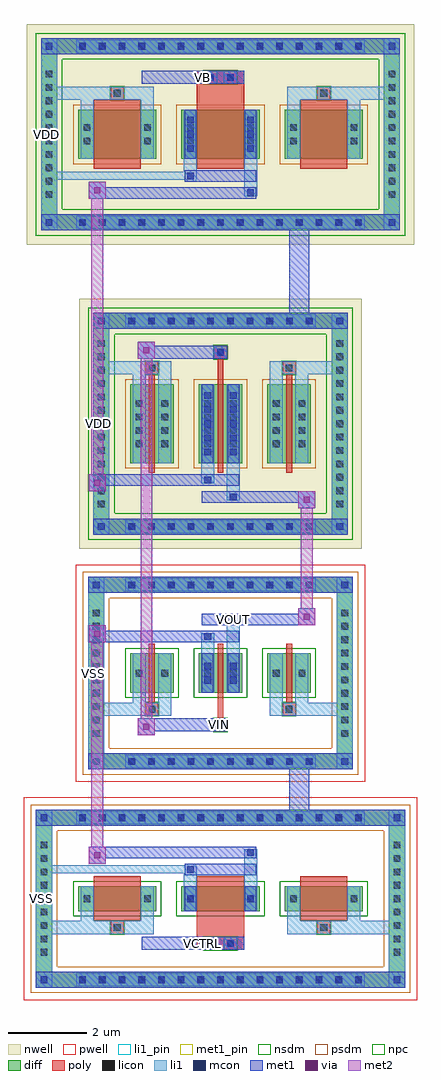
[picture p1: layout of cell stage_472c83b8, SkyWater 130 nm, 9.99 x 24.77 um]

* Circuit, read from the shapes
.subckt stage_472c83b8 VB VCTRL VDD VIN VOUT VSS
XM1 VSS VSS VSS VSUBS sky130_fd_pr__nfet_01v8 w=0.63 l=1.2 m=2
XM2 VSS VSS VSS VSUBS sky130_fd_pr__nfet_01v8 w=1 l=0.15 m=2
XM3 n1 VCTRL VSS VSUBS sky130_fd_pr__nfet_01v8 w=0.63 l=1.2
XM4 VOUT VIN n1 VSUBS sky130_fd_pr__nfet_01v8 w=1 l=0.15
XM5 VDD VDD VDD n2 sky130_fd_pr__pfet_01v8 w=1.25 l=1.2 m=2
XM6 VDD VDD VDD n3 sky130_fd_pr__pfet_01v8 w=2 l=0.15 m=2
XM7 n4 VB VDD n2 sky130_fd_pr__pfet_01v8 w=1.25 l=1.2
XM8 VOUT VIN n4 n3 sky130_fd_pr__pfet_01v8 w=2 l=0.15
.ends

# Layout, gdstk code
import gdstk
lib = gdstk.Library(unit=1e-6, precision=5e-09)
def R(c, l, rs):  # rectangles x0, y0, x1, y1
    for r in rs: c.add(gdstk.rectangle(r[:2], r[2:], *l))
def A(c, l, x, y, w, h, nx, ny, dx, dy):  # array of equal rectangles
    R(c, l, [(x+i*dx, y+j*dy, x+i*dx+w, y+j*dy+h) for i in range(nx) for j in range(ny)])
def P(c, l, *ps):  # polygons
    for p in ps: c.add(gdstk.Polygon(p, *l))
nwell = (64, 20)
pwell = (64, 44)
diff = (65, 20)
poly = (66, 20)
licon = (66, 44)
li1_pin = (67, 16)
li1 = (67, 20)
mcon = (67, 44)
met1_pin = (68, 16)
met1 = (68, 20)
via = (68, 44)
met2 = (69, 20)
nsdm = (93, 44)
psdm = (94, 20)
npc = (95, 20)

stage_472c83b8 = lib.new_cell('stage_472c83b8')
R(stage_472c83b8, nwell, [(-3.59,8.88,3.59,15.23), (-3.41,9.06,3.41,15.05), (-4.915,16.6,4.915,22.2), (-4.735,16.78,4.735,22.02)])
R(stage_472c83b8, pwell, [(-4.995,-2.57,4.995,2.57), (-3.67,2.97,3.67,8.48)])
A(stage_472c83b8, diff, -3.705, -2.26, 0.41, 0.41, 15, 2, 0.5, 4.11)
A(stage_472c83b8, diff, -4.685, -1.565, 0.41, 0.41, 1, 9, 0, 0.34)
A(stage_472c83b8, diff, 4.275, -1.565, 0.41, 0.41, 1, 9, 0, 0.34)
A(stage_472c83b8, diff, -3.61, -0.315, 1.98, 0.63, 3, 1, 2.62, 0)
A(stage_472c83b8, diff, -2.455, 3.28, 0.41, 0.41, 10, 2, 0.5, 4.48)
A(stage_472c83b8, diff, -3.36, 3.99, 0.41, 0.41, 1, 10, 0, 0.34)
A(stage_472c83b8, diff, 2.95, 3.99, 0.41, 0.41, 1, 10, 0, 0.34)
A(stage_472c83b8, diff, -2.29, 5.225, 1.1, 1, 3, 1, 1.74, 0)
A(stage_472c83b8, diff, -2.455, 9.24, 0.41, 0.41, 10, 2, 0.5, 5.22)
A(stage_472c83b8, diff, -3.23, 9.81, 0.41, 0.41, 1, 13, 0, 0.34)
A(stage_472c83b8, diff, 2.82, 9.81, 0.41, 0.41, 1, 13, 0, 0.34)
A(stage_472c83b8, diff, -2.29, 11.055, 1.1, 2, 3, 1, 1.74, 0)
A(stage_472c83b8, diff, -3.705, 16.96, 0.41, 0.41, 15, 2, 0.5, 4.47)
A(stage_472c83b8, diff, -4.555, 17.665, 0.41, 0.41, 1, 10, 0, 0.34)
A(stage_472c83b8, diff, 4.145, 17.665, 0.41, 0.41, 1, 10, 0, 0.34)
A(stage_472c83b8, diff, -3.61, 18.775, 1.98, 1.25, 3, 1, 2.62, 0)
R(stage_472c83b8, diff, [(-3.705,-2.26,3.705,-1.85), (-4.685,-1.565,-4.275,1.565), (4.275,-1.565,4.685,1.565), (-3.705,1.85,3.705,2.26), (-2.455,3.28,2.455,3.69), (-3.36,3.99,-2.95,7.46), (2.95,3.99,3.36,7.46), (-2.455,7.76,2.455,8.17), (-2.455,9.24,2.455,9.65), (-3.23,9.81,-2.82,14.3), (2.82,9.81,3.23,14.3), (-2.455,14.46,2.455,14.87), (-3.705,16.96,3.705,17.37), (-4.555,17.665,-4.145,21.135), (4.145,17.665,4.555,21.135), (-3.705,21.43,3.705,21.84)])
P(stage_472c83b8, diff, [(4.685,2.26),(-4.685,2.26),(-4.685,-1.85),(-4.275,-1.85),(-4.275,1.85),(4.275,1.85),(4.275,-1.85),(-4.275,-1.85),(-4.685,-1.85),(-4.685,-2.26),(4.685,-2.26)],
  [(4.555,16.96),(-4.555,16.96),(-4.555,21.43),(-4.145,21.43),(-4.145,17.37),(4.145,17.37),(4.145,21.43),(-4.145,21.43),(-4.555,21.43),(-4.555,21.84),(4.555,21.84)],
  [(3.23,9.24),(-3.23,9.24),(-3.23,14.46),(-2.82,14.46),(-2.82,9.65),(2.82,9.65),(2.82,14.46),(-2.82,14.46),(-3.23,14.46),(-3.23,14.87),(3.23,14.87)],
  [(3.36,8.17),(-3.36,8.17),(-3.36,3.69),(-2.95,3.69),(-2.95,7.76),(2.95,7.76),(2.95,3.69),(-2.95,3.69),(-3.36,3.69),(-3.36,3.28),(3.36,3.28)])
A(stage_472c83b8, poly, -3.22, -0.565, 1.2, 1.13, 3, 1, 2.62, 0)
A(stage_472c83b8, poly, -1.815, 4.975, 0.15, 1.5, 3, 1, 1.74, 0)
A(stage_472c83b8, poly, -1.815, 10.805, 0.15, 2.5, 3, 1, 1.74, 0)
A(stage_472c83b8, poly, -3.22, 18.525, 1.2, 1.75, 3, 1, 2.62, 0)
R(stage_472c83b8, poly, [(-0.6,-1.3,0.6,-0.97), (-0.415,-1.3,-0.085,-0.97), (0.085,-1.3,0.415,-0.97), (-0.6,-0.97,0.6,-0.565), (-2.785,-0.895,-2.455,-0.565), (-2.785,-0.895,-2.455,-0.565), (2.455,-0.895,2.785,-0.565), (2.455,-0.895,2.785,-0.565), (-0.165,4.245,0.165,4.575), (-0.165,4.245,0.165,4.575), (-0.075,4.575,0.075,4.975), (-1.905,4.645,-1.575,4.975), (-1.905,4.645,-1.575,4.975), (1.575,4.645,1.905,4.975), (1.575,4.645,1.905,4.975), (-1.905,13.305,-1.575,13.635), (-1.905,13.305,-1.575,13.635), (-0.075,13.305,0.075,13.705), (1.575,13.305,1.905,13.635), (1.575,13.305,1.905,13.635), (-0.165,13.705,0.165,14.035), (-0.165,13.705,0.165,14.035), (-2.785,20.275,-2.455,20.605), (-2.785,20.275,-2.455,20.605), (-0.6,20.275,0.6,20.68), (2.455,20.275,2.785,20.605), (2.455,20.275,2.785,20.605), (-0.6,20.68,0.6,21.01), (-0.415,20.68,-0.085,21.01), (0.085,20.68,0.415,21.01)])
A(stage_472c83b8, licon, -3.585, -2.14, 0.17, 0.17, 15, 2, 0.5, 4.11)
A(stage_472c83b8, licon, -4.565, -1.445, 0.17, 0.17, 1, 9, 0, 0.34)
A(stage_472c83b8, licon, 4.395, -1.445, 0.17, 0.17, 1, 9, 0, 0.34)
A(stage_472c83b8, licon, -2.335, 3.4, 0.17, 0.17, 10, 2, 0.5, 4.48)
A(stage_472c83b8, licon, -3.24, 4.11, 0.17, 0.17, 1, 10, 0, 0.34)
A(stage_472c83b8, licon, 3.07, 4.11, 0.17, 0.17, 1, 10, 0, 0.34)
A(stage_472c83b8, licon, -2.335, 9.36, 0.17, 0.17, 10, 2, 0.5, 5.22)
A(stage_472c83b8, licon, -3.11, 9.93, 0.17, 0.17, 1, 13, 0, 0.34)
A(stage_472c83b8, licon, 2.94, 9.93, 0.17, 0.17, 1, 13, 0, 0.34)
A(stage_472c83b8, licon, -2.15, 11.46, 0.17, 0.17, 1, 4, 0, 0.34)
A(stage_472c83b8, licon, -1.5, 11.46, 0.17, 0.17, 1, 4, 0, 0.34)
A(stage_472c83b8, licon, -0.41, 11.46, 0.17, 0.17, 1, 4, 0, 0.34)
A(stage_472c83b8, licon, 0.24, 11.46, 0.17, 0.17, 1, 4, 0, 0.34)
A(stage_472c83b8, licon, 1.33, 11.46, 0.17, 0.17, 1, 4, 0, 0.34)
A(stage_472c83b8, licon, 1.98, 11.46, 0.17, 0.17, 1, 4, 0, 0.34)
A(stage_472c83b8, licon, -3.585, 17.08, 0.17, 0.17, 15, 2, 0.5, 4.47)
A(stage_472c83b8, licon, -4.435, 17.785, 0.17, 0.17, 1, 10, 0, 0.34)
A(stage_472c83b8, licon, 4.265, 17.785, 0.17, 0.17, 1, 10, 0, 0.34)
R(stage_472c83b8, licon, [(-0.335,-1.22,-0.165,-1.05), (0.165,-1.22,0.335,-1.05), (-2.705,-0.815,-2.535,-0.645), (2.535,-0.815,2.705,-0.645), (-3.47,-0.085,-3.3,0.085), (-1.94,-0.085,-1.77,0.085), (-0.85,-0.085,-0.68,0.085), (0.68,-0.085,0.85,0.085), (1.77,-0.085,1.94,0.085), (3.3,-0.085,3.47,0.085), (-0.085,4.325,0.085,4.495), (-1.825,4.725,-1.655,4.895), (1.655,4.725,1.825,4.895), (-2.15,5.64,-1.98,5.81), (-1.5,5.64,-1.33,5.81), (-0.41,5.64,-0.24,5.81), (0.24,5.64,0.41,5.81), (1.33,5.64,1.5,5.81), (1.98,5.64,2.15,5.81), (-1.825,13.385,-1.655,13.555), (1.655,13.385,1.825,13.555), (-0.085,13.785,0.085,13.955), (-3.47,19.145,-3.3,19.315), (-1.94,19.145,-1.77,19.315), (-0.85,19.145,-0.68,19.315), (0.68,19.145,0.85,19.315), (1.77,19.145,1.94,19.315), (3.3,19.145,3.47,19.315), (-3.47,19.485,-3.3,19.655), (-1.94,19.485,-1.77,19.655), (-0.85,19.485,-0.68,19.655), (0.68,19.485,0.85,19.655), (1.77,19.485,1.94,19.655), (3.3,19.485,3.47,19.655), (-2.705,20.355,-2.535,20.525), (2.535,20.355,2.705,20.525), (-0.335,20.76,-0.165,20.93), (0.165,20.76,0.335,20.93)])
R(stage_472c83b8, li1_pin, [(-4.685,-0.135,-4.415,0.135), (-3.36,5.59,-3.09,5.86), (-3.23,11.92,-2.96,12.19), (-4.555,19.265,-4.285,19.535)])
A(stage_472c83b8, li1, -3.665, -2.22, 0.33, 0.33, 15, 2, 0.5, 4.11)
A(stage_472c83b8, li1, -4.645, -1.525, 0.33, 0.33, 1, 9, 0, 0.34)
A(stage_472c83b8, li1, 4.315, -1.525, 0.33, 0.33, 1, 9, 0, 0.34)
A(stage_472c83b8, li1, -2.415, 3.32, 0.33, 0.33, 10, 2, 0.5, 4.48)
A(stage_472c83b8, li1, -3.32, 4.03, 0.33, 0.33, 1, 10, 0, 0.34)
A(stage_472c83b8, li1, 2.99, 4.03, 0.33, 0.33, 1, 10, 0, 0.34)
A(stage_472c83b8, li1, -2.415, 9.28, 0.33, 0.33, 10, 2, 0.5, 5.22)
A(stage_472c83b8, li1, -3.19, 9.85, 0.33, 0.33, 1, 13, 0, 0.34)
A(stage_472c83b8, li1, 2.86, 9.85, 0.33, 0.33, 1, 13, 0, 0.34)
A(stage_472c83b8, li1, -0.41, 11.25, 0.17, 0.17, 1, 5, 0, 0.36)
A(stage_472c83b8, li1, 0.24, 11.25, 0.17, 0.17, 1, 5, 0, 0.36)
A(stage_472c83b8, li1, -2.23, 11.38, 0.33, 0.33, 1, 4, 0, 0.34)
A(stage_472c83b8, li1, -1.58, 11.38, 0.33, 0.33, 1, 4, 0, 0.34)
A(stage_472c83b8, li1, -0.49, 11.38, 0.33, 0.33, 1, 4, 0, 0.34)
A(stage_472c83b8, li1, 0.16, 11.38, 0.33, 0.33, 1, 4, 0, 0.34)
A(stage_472c83b8, li1, 1.25, 11.38, 0.33, 0.33, 1, 4, 0, 0.34)
A(stage_472c83b8, li1, 1.9, 11.38, 0.33, 0.33, 1, 4, 0, 0.34)
A(stage_472c83b8, li1, -3.665, 17, 0.33, 0.33, 15, 2, 0.5, 4.47)
A(stage_472c83b8, li1, -4.515, 17.705, 0.33, 0.33, 1, 10, 0, 0.34)
A(stage_472c83b8, li1, 4.185, 17.705, 0.33, 0.33, 1, 10, 0, 0.34)
A(stage_472c83b8, li1, -0.85, 18.955, 0.17, 0.17, 1, 3, 0, 0.36)
A(stage_472c83b8, li1, 0.68, 18.955, 0.17, 0.17, 1, 3, 0, 0.36)
R(stage_472c83b8, li1, [(-4.685,-2.26,-4.275,-1.85), (4.275,-2.26,4.685,-1.85), (-3.665,-2.22,3.665,-1.89), (-4.565,-2.14,-4.395,-1.97), (-4.565,-2.14,-4.395,-1.97), (4.395,-2.14,4.565,-1.97), (4.395,-2.14,4.565,-1.97), (-4.685,-1.85,-4.275,1.85), (4.275,-1.85,4.685,1.85), (-0.415,-1.3,-0.085,-0.97), (0.085,-1.3,0.415,-0.97), (-4.685,-0.895,-2.785,-0.565), (-3.55,-0.895,-2.785,-0.565), (-3.55,-0.895,-3.22,-0.315), (-2.785,-0.895,-2.455,-0.565), (-2.455,-0.895,-1.69,-0.565), (-2.02,-0.895,-1.69,-0.315), (1.69,-0.895,2.455,-0.565), (1.69,-0.895,2.02,-0.315), (2.455,-0.895,2.785,-0.565), (2.455,-0.895,4.685,-0.565), (2.785,-0.895,3.55,-0.565), (3.22,-0.895,3.55,-0.315), (-3.55,-0.315,-3.22,0.315), (-2.02,-0.315,-1.69,0.315), (-0.93,-0.315,-0.6,0.315), (0.6,-0.315,0.93,0.315), (1.69,-0.315,2.02,0.315), (3.22,-0.315,3.55,0.315), (-3.55,-0.165,-3.22,0.165), (-2.02,-0.165,-1.69,0.165), (-0.93,-0.165,-0.6,0.165), (0.6,-0.165,0.93,0.165), (1.69,-0.165,2.02,0.165), (3.22,-0.165,3.55,0.165), (-0.85,-0.085,-0.68,0.085), (-0.85,-0.085,-0.68,0.085), (0.68,-0.085,0.85,0.085), (0.68,-0.085,0.85,0.085), (-0.93,0.315,-0.6,0.83), (0.6,0.315,0.93,1.26), (-0.91,0.6,-0.62,0.89), (-4.685,0.645,-0.91,0.845), (-0.85,0.66,-0.68,0.83), (-0.85,0.66,-0.68,0.83), (0.68,1.09,0.85,1.26), (-4.685,1.85,-4.275,2.26), (4.275,1.85,4.685,2.26), (-3.665,1.89,3.665,2.22), (-4.565,1.97,-4.395,2.14), (-4.565,1.97,-4.395,2.14), (4.395,1.97,4.565,2.14), (4.395,1.97,4.565,2.14), (-3.36,3.28,-2.95,3.69), (2.95,3.28,3.36,3.69), (-2.415,3.32,2.415,3.65), (-3.24,3.4,-3.07,3.57), (-3.24,3.4,-3.07,3.57), (3.07,3.4,3.24,3.57), (3.07,3.4,3.24,3.57), (-3.36,3.69,-2.95,7.76), (2.95,3.69,3.36,7.76), (-0.165,4.245,0.165,4.575), (-3.36,4.645,-1.905,4.975), (-2.23,4.645,-1.9,5.225), (-2.23,4.645,-1.905,4.975), (-1.905,4.645,-1.575,4.975), (-1.58,4.645,-1.25,5.225), (-1.575,4.645,-1.25,4.975), (1.25,4.645,1.58,5.225), (1.25,4.645,1.575,4.975), (1.575,4.645,1.905,4.975), (1.575,4.645,3.36,4.975), (1.9,4.645,2.23,5.225), (1.905,4.645,2.23,4.975), (-2.23,5.225,-1.9,6.225), (-1.58,5.225,-1.25,6.225), (-0.49,5.225,-0.16,6.225), (0.16,5.225,0.49,6.225), (1.25,5.225,1.58,6.225), (1.9,5.225,2.23,6.225), (-0.41,5.46,-0.24,5.63), (-0.41,5.46,-0.24,5.99), (0.24,5.46,0.41,5.63), (0.24,5.46,0.41,5.99), (-2.23,5.56,-1.9,5.89), (-1.58,5.56,-1.25,5.89), (-0.49,5.56,-0.16,5.89), (0.16,5.56,0.49,5.89), (1.25,5.56,1.58,5.89), (1.9,5.56,2.23,5.89), (-0.41,5.82,-0.24,5.99), (0.24,5.82,0.41,5.99), (-0.49,6.225,-0.16,6.74), (0.16,6.225,0.49,7.17), (-0.41,6.57,-0.24,6.74), (0.24,7,0.41,7.17), (-3.36,7.76,-2.95,8.17), (2.95,7.76,3.36,8.17), (-2.415,7.8,2.415,8.13), (-3.24,7.88,-3.07,8.05), (-3.24,7.88,-3.07,8.05), (3.07,7.88,3.24,8.05), (3.07,7.88,3.24,8.05), (-3.23,9.24,-2.82,9.65), (2.82,9.24,3.23,9.65), (-2.415,9.28,2.415,9.61), (-3.11,9.36,-2.94,9.53), (-3.11,9.36,-2.94,9.53), (2.94,9.36,3.11,9.53), (2.94,9.36,3.11,9.53), (-3.23,9.65,-2.82,14.46), (2.82,9.65,3.23,14.46), (0.16,10.11,0.49,11.055), (0.24,10.11,0.41,10.28), (-0.49,10.54,-0.16,11.055), (-0.41,10.54,-0.24,10.71), (-2.23,11.055,-1.9,13.055), (-1.58,11.055,-1.25,13.055), (-0.49,11.055,-0.16,13.055), (0.16,11.055,0.49,13.055), (1.25,11.055,1.58,13.055), (1.9,11.055,2.23,13.055), (-0.41,11.25,-0.24,12.86), (0.24,11.25,0.41,12.86), (-2.23,13.055,-1.9,13.635), (-1.58,13.055,-1.25,13.635), (1.25,13.055,1.58,13.635), (1.9,13.055,2.23,13.635), (-3.23,13.305,-1.905,13.635), (-2.23,13.305,-1.905,13.635), (-1.905,13.305,-1.575,13.635), (-1.575,13.305,-1.25,13.635), (1.25,13.305,1.575,13.635), (1.575,13.305,1.905,13.635), (1.575,13.305,3.23,13.635), (1.905,13.305,2.23,13.635), (-0.165,13.705,0.165,14.035), (-3.23,14.46,-2.82,14.87), (2.82,14.46,3.23,14.87), (-2.415,14.5,2.415,14.83), (-3.11,14.58,-2.94,14.75), (-3.11,14.58,-2.94,14.75), (2.94,14.58,3.11,14.75), (2.94,14.58,3.11,14.75), (-4.555,16.96,-4.145,17.37), (4.145,16.96,4.555,17.37), (-3.665,17,3.665,17.33), (-4.435,17.08,-4.265,17.25), (-4.435,17.08,-4.265,17.25), (4.265,17.08,4.435,17.25), (4.265,17.08,4.435,17.25), (-4.555,17.37,-4.145,21.43), (4.145,17.37,4.555,21.43), (0.6,17.83,0.93,18.775), (0.68,17.83,0.85,18), (-0.91,18.2,-0.62,18.49), (-4.555,18.245,-0.91,18.445), (-0.93,18.26,-0.6,18.775), (-0.85,18.26,-0.68,18.43), (-0.85,18.26,-0.68,18.43), (-3.55,18.775,-3.22,20.025), (-2.02,18.775,-1.69,20.025), (-0.93,18.775,-0.6,20.025), (0.6,18.775,0.93,20.025), (1.69,18.775,2.02,20.025), (3.22,18.775,3.55,20.025), (-0.85,18.955,-0.68,19.845), (0.68,18.955,0.85,19.845), (-3.55,19.065,-3.22,19.395), (-2.02,19.065,-1.69,19.395), (-0.93,19.065,-0.6,19.395), (0.6,19.065,0.93,19.395), (1.69,19.065,2.02,19.395), (3.22,19.065,3.55,19.395), (-3.55,19.405,-3.22,19.735), (-2.02,19.405,-1.69,19.735), (-0.93,19.405,-0.6,19.735), (0.6,19.405,0.93,19.735), (1.69,19.405,2.02,19.735), (3.22,19.405,3.55,19.735), (-3.55,20.025,-3.22,20.605), (-2.02,20.025,-1.69,20.605), (1.69,20.025,2.02,20.605), (3.22,20.025,3.55,20.605), (-4.555,20.275,-2.785,20.605), (-3.55,20.275,-2.785,20.605), (-2.785,20.275,-2.455,20.605), (-2.455,20.275,-1.69,20.605), (1.69,20.275,2.455,20.605), (2.455,20.275,2.785,20.605), (2.455,20.275,4.555,20.605), (2.785,20.275,3.55,20.605), (-0.415,20.68,-0.085,21.01), (0.085,20.68,0.415,21.01), (-4.555,21.43,-4.145,21.84), (4.145,21.43,4.555,21.84), (-3.665,21.47,3.665,21.8), (-4.435,21.55,-4.265,21.72), (-4.435,21.55,-4.265,21.72), (4.265,21.55,4.435,21.72), (4.265,21.55,4.435,21.72)])
A(stage_472c83b8, mcon, -3.585, -2.14, 0.17, 0.17, 15, 2, 0.5, 4.11)
A(stage_472c83b8, mcon, -2.335, 3.4, 0.17, 0.17, 10, 2, 0.5, 4.48)
A(stage_472c83b8, mcon, -2.335, 9.36, 0.17, 0.17, 10, 2, 0.5, 5.22)
A(stage_472c83b8, mcon, -0.41, 11.25, 0.17, 0.17, 1, 5, 0, 0.36)
A(stage_472c83b8, mcon, 0.24, 11.25, 0.17, 0.17, 1, 5, 0, 0.36)
A(stage_472c83b8, mcon, -3.585, 17.08, 0.17, 0.17, 15, 2, 0.5, 4.47)
A(stage_472c83b8, mcon, -0.85, 18.955, 0.17, 0.17, 1, 3, 0, 0.36)
A(stage_472c83b8, mcon, 0.68, 18.955, 0.17, 0.17, 1, 3, 0, 0.36)
R(stage_472c83b8, mcon, [(-4.565,-2.14,-4.395,-1.97), (4.395,-2.14,4.565,-1.97), (-0.335,-1.22,-0.165,-1.05), (0.165,-1.22,0.335,-1.05), (-0.85,-0.085,-0.68,0.085), (0.68,-0.085,0.85,0.085), (-0.85,0.66,-0.68,0.83), (-0.85,0.66,-0.68,0.83), (0.68,1.09,0.85,1.26), (-4.565,1.97,-4.395,2.14), (4.395,1.97,4.565,2.14), (-3.24,3.4,-3.07,3.57), (3.07,3.4,3.24,3.57), (-0.085,4.325,0.085,4.495), (-0.41,5.46,-0.24,5.63), (0.24,5.46,0.41,5.63), (-0.41,5.82,-0.24,5.99), (0.24,5.82,0.41,5.99), (-0.41,6.57,-0.24,6.74), (0.24,7,0.41,7.17), (-3.24,7.88,-3.07,8.05), (3.07,7.88,3.24,8.05), (-3.11,9.36,-2.94,9.53), (2.94,9.36,3.11,9.53), (0.24,10.11,0.41,10.28), (-0.41,10.54,-0.24,10.71), (-0.085,13.785,0.085,13.955), (-3.11,14.58,-2.94,14.75), (2.94,14.58,3.11,14.75), (-4.435,17.08,-4.265,17.25), (4.265,17.08,4.435,17.25), (0.68,17.83,0.85,18), (-0.85,18.26,-0.68,18.43), (-0.85,18.26,-0.68,18.43), (-0.335,20.76,-0.165,20.93), (0.165,20.76,0.335,20.93), (-4.435,21.55,-4.265,21.72), (4.265,21.55,4.435,21.72)])
R(stage_472c83b8, met1_pin, [(-0.6,-1.27,-0.33,-1), (-0.165,4.275,0.105,4.545), (0.2,6.95,0.47,7.22), (-0.6,20.71,-0.33,20.98)])
A(stage_472c83b8, met1, -3.645, -2.2, 0.29, 0.29, 15, 2, 0.5, 4.11)
A(stage_472c83b8, met1, -2.395, 3.34, 0.29, 0.29, 10, 2, 0.5, 4.48)
A(stage_472c83b8, met1, -2.395, 9.3, 0.29, 0.29, 10, 2, 0.5, 5.22)
A(stage_472c83b8, met1, -0.47, 11.19, 0.29, 0.29, 1, 5, 0, 0.36)
A(stage_472c83b8, met1, 0.18, 11.19, 0.29, 0.29, 1, 5, 0, 0.36)
A(stage_472c83b8, met1, -3.645, 17.02, 0.29, 0.29, 15, 2, 0.5, 4.47)
A(stage_472c83b8, met1, -0.91, 18.895, 0.29, 0.29, 1, 3, 0, 0.36)
A(stage_472c83b8, met1, 0.62, 18.895, 0.29, 0.29, 1, 3, 0, 0.36)
R(stage_472c83b8, met1, [(-4.685,-2.26,-4.275,-1.85), (-4.685,-2.26,-4.275,-1.85), (-4.275,-2.26,4.275,-1.85), (4.275,-2.26,4.685,-1.85), (4.275,-2.26,4.685,-1.85), (-4.625,-2.2,-4.335,-1.91), (4.335,-2.2,4.625,-1.91), (-2,-1.3,-0.6,-0.97), (-0.6,-1.3,0.6,-0.97), (-0.395,-1.28,-0.105,-0.99), (0.105,-1.28,0.395,-0.99), (-0.91,-0.315,-0.62,0.315), (0.62,-0.315,0.91,0.315), (-0.91,-0.145,-0.62,0.145), (0.62,-0.145,0.91,0.145), (-0.91,0.6,-0.62,0.89), (-0.91,0.6,-0.62,0.89), (-0.91,0.6,0.91,0.89), (-3.34,0.89,-2.91,1.32), (-3.34,1.03,-0.91,1.32), (-0.91,1.03,0.91,1.32), (0.62,1.03,0.91,1.32), (-4.685,1.85,-4.275,2.26), (-4.685,1.85,-4.275,2.26), (-4.275,1.85,4.275,2.26), (4.275,1.85,4.685,2.26), (4.275,1.85,4.685,2.26), (1.75,1.9,2.25,3.64), (-4.625,1.91,-4.335,2.2), (4.335,1.91,4.625,2.2), (-3.36,3.28,-2.95,3.69), (-3.36,3.28,-2.95,3.69), (-2.95,3.28,2.95,3.69), (2.95,3.28,3.36,3.69), (2.95,3.28,3.36,3.69), (-3.3,3.34,-3.01,3.63), (3.01,3.34,3.3,3.63), (-2.095,4.145,-1.665,4.575), (-2.095,4.245,-0.165,4.575), (-0.165,4.245,0.165,4.575), (-0.145,4.265,0.145,4.555), (-0.47,5.225,-0.18,6.225), (0.18,5.225,0.47,6.225), (-0.47,5.4,-0.18,5.69), (0.18,5.4,0.47,5.69), (-0.47,5.76,-0.18,6.05), (0.18,5.76,0.47,6.05), (-3.34,6.51,-0.47,6.8), (-3.34,6.51,-2.91,6.94), (-0.47,6.51,-0.18,6.8), (-0.47,6.51,0.47,6.8), (-0.47,6.94,0.47,7.23), (0.18,6.94,0.47,7.23), (0.47,6.94,2.4,7.23), (1.97,6.94,2.4,7.37), (-3.36,7.76,-2.95,8.17), (-3.36,7.76,-2.95,8.17), (-2.95,7.76,2.95,8.17), (2.95,7.76,3.36,8.17), (2.95,7.76,3.36,8.17), (-3.3,7.82,-3.01,8.11), (3.01,7.82,3.3,8.11), (-3.23,9.24,-2.82,9.65), (-3.23,9.24,-2.82,9.65), (-2.82,9.24,2.82,9.65), (2.82,9.24,3.23,9.65), (2.82,9.24,3.23,9.65), (-3.17,9.3,-2.88,9.59), (2.88,9.3,3.17,9.59), (1.97,9.91,2.4,10.34), (-0.47,10.05,0.47,10.34), (0.18,10.05,0.47,10.34), (0.47,10.05,2.4,10.34), (-3.34,10.34,-2.91,10.77), (-3.34,10.48,-0.47,10.77), (-0.47,10.48,-0.18,10.77), (-0.47,10.48,0.47,10.77), (-0.47,11.055,-0.18,13.055), (0.18,11.055,0.47,13.055), (-2.095,13.705,-1.665,14.135), (-2.095,13.705,-0.165,14.035), (-0.165,13.705,0.165,14.035), (-0.145,13.725,0.145,14.015), (-3.23,14.46,-2.82,14.87), (-3.23,14.46,-2.82,14.87), (-2.82,14.46,2.82,14.87), (2.82,14.46,3.23,14.87), (2.82,14.46,3.23,14.87), (1.75,14.51,2.25,17.32), (-3.17,14.52,-2.88,14.81), (2.88,14.52,3.17,14.81), (-4.555,16.96,-4.145,17.37), (-4.555,16.96,-4.145,17.37), (-4.145,16.96,4.145,17.37), (4.145,16.96,4.555,17.37), (4.145,16.96,4.555,17.37), (-4.495,17.02,-4.205,17.31), (4.205,17.02,4.495,17.31), (-3.34,17.77,-2.91,18.2), (-3.34,17.77,-0.91,18.06), (-0.91,17.77,0.91,18.06), (0.62,17.77,0.91,18.06), (-0.91,18.2,-0.62,18.49), (-0.91,18.2,-0.62,18.49), (-0.91,18.2,0.91,18.49), (-0.91,18.775,-0.62,20.025), (0.62,18.775,0.91,20.025), (-2,20.68,-0.6,21.01), (-0.6,20.68,0.6,21.01), (-0.395,20.7,-0.105,20.99), (0.105,20.7,0.395,20.99), (-4.555,21.43,-4.145,21.84), (-4.555,21.43,-4.145,21.84), (-4.145,21.43,4.145,21.84), (4.145,21.43,4.555,21.84), (4.145,21.43,4.555,21.84), (-4.495,21.49,-4.205,21.78), (4.205,21.49,4.495,21.78)])
R(stage_472c83b8, via, [(-3.2,1.03,-3.05,1.18), (-1.955,4.285,-1.805,4.435), (-3.2,6.65,-3.05,6.8), (2.11,7.08,2.26,7.23), (2.11,10.05,2.26,10.2), (-3.2,10.48,-3.05,10.63), (-1.955,13.845,-1.805,13.995), (-3.2,17.91,-3.05,18.06)])
R(stage_472c83b8, met2, [(-3.34,0.89,-2.91,1.32), (-3.275,0.89,-2.975,6.94), (-2.975,0.89,-2.91,1.32), (-3.29,0.94,-2.96,1.27), (-2.095,4.145,-1.665,4.575), (-2.03,4.145,-1.73,14.135), (-1.73,4.145,-1.665,4.575), (-2.045,4.195,-1.715,4.525), (-3.34,6.51,-2.91,6.94), (-2.975,6.51,-2.91,6.94), (-3.29,6.56,-2.96,6.89), (1.97,6.94,2.4,7.37), (2.035,6.94,2.335,10.34), (2.335,6.94,2.4,7.37), (2.02,6.99,2.35,7.32), (1.97,9.91,2.4,10.34), (2.335,9.91,2.4,10.34), (2.02,9.96,2.35,10.29), (-3.34,10.34,-2.91,10.77), (-3.275,10.34,-2.975,18.2), (-2.975,10.34,-2.91,10.77), (-3.29,10.39,-2.96,10.72), (-2.095,13.705,-1.665,14.135), (-1.73,13.705,-1.665,14.135), (-2.045,13.755,-1.715,14.085), (-3.34,17.77,-2.91,18.2), (-2.975,17.77,-2.91,18.2), (-3.29,17.82,-2.96,18.15)])
A(stage_472c83b8, nsdm, -3.74, -0.445, 2.24, 0.89, 3, 1, 2.62, 0)
A(stage_472c83b8, nsdm, -2.42, 5.095, 1.36, 1.26, 3, 1, 1.74, 0)
P(stage_472c83b8, nsdm, [(4.685,16.83),(-4.685,16.83),(-4.685,21.3),(-4.015,21.3),(-4.015,17.5),(4.015,17.5),(4.015,21.3),(-4.015,21.3),(-4.685,21.3),(-4.685,21.97),(4.685,21.97)],
  [(3.36,9.11),(-3.36,9.11),(-3.36,14.33),(-2.69,14.33),(-2.69,9.78),(2.69,9.78),(2.69,14.33),(-2.69,14.33),(-3.36,14.33),(-3.36,15),(3.36,15)])
A(stage_472c83b8, psdm, -2.42, 10.925, 1.36, 2.26, 3, 1, 1.74, 0)
A(stage_472c83b8, psdm, -3.74, 18.645, 2.24, 1.51, 3, 1, 2.62, 0)
P(stage_472c83b8, psdm, [(4.815,2.39),(-4.815,2.39),(-4.815,-1.72),(-4.145,-1.72),(-4.145,1.72),(4.145,1.72),(4.145,-1.72),(-4.145,-1.72),(-4.815,-1.72),(-4.815,-2.39),(4.815,-2.39)],
  [(3.49,8.3),(-3.49,8.3),(-3.49,3.82),(-2.82,3.82),(-2.82,7.63),(2.82,7.63),(2.82,3.82),(-2.82,3.82),(-3.49,3.82),(-3.49,3.15),(3.49,3.15)])
R(stage_472c83b8, npc, [(-0.435,-1.32,-0.065,-0.95), (-0.435,-1.32,0.435,-0.95), (-0.435,-1.32,0.435,-0.95), (0.065,-1.32,0.435,-0.95), (-2.805,-0.915,-2.435,-0.545), (2.435,-0.915,2.805,-0.545), (-0.185,4.225,0.185,4.595), (-1.925,4.625,-1.555,4.995), (1.555,4.625,1.925,4.995), (-1.925,13.285,-1.555,13.655), (1.555,13.285,1.925,13.655), (-0.185,13.685,0.185,14.055), (-2.805,20.255,-2.435,20.625), (2.435,20.255,2.805,20.625), (-0.435,20.66,-0.065,21.03), (-0.435,20.66,0.435,21.03), (-0.435,20.66,0.435,21.03), (0.065,20.66,0.435,21.03)])
stage_472c83b8.add(gdstk.Label('VIN', (-0.03,4.41), layer=68, texttype=5))
stage_472c83b8.add(gdstk.Label('VOUT', (0.335,7.085), layer=68, texttype=5))
stage_472c83b8.add(gdstk.Label('VCTRL', (-0.465,-1.135), layer=68, texttype=5))
stage_472c83b8.add(gdstk.Label('VB', (-0.465,20.845), layer=68, texttype=5))
stage_472c83b8.add(gdstk.Label('VSS', (-4.55,0), layer=67, texttype=5))
stage_472c83b8.add(gdstk.Label('VSS', (-3.225,5.725), layer=67, texttype=5))
stage_472c83b8.add(gdstk.Label('VDD', (-4.42,19.4), layer=67, texttype=5))
stage_472c83b8.add(gdstk.Label('VDD', (-3.095,12.055), layer=67, texttype=5))

lib.write_gds('stage_472c83b8.gds')
